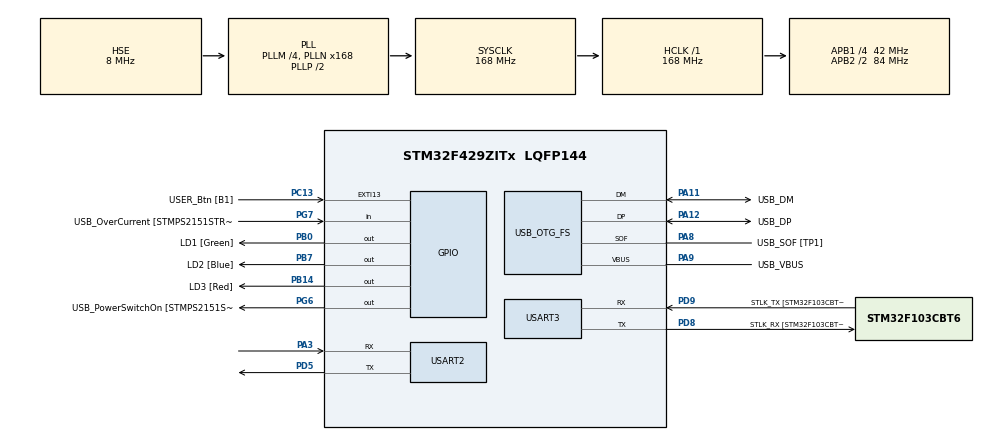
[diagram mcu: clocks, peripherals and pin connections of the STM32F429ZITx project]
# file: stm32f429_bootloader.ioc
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Mcu.Family=STM32F4
RCC.CortexFreq_Value=168000000
PG6.Signal=GPIO_Output
PB14.GPIO_Label=LD3 [Red]
PG6.GPIO_Label=USB_PowerSwitchOn [STMPS2151STR_EN]
PA14.GPIO_Label=TCK
RCC.SYSCLKSourceVirtual=RCC_SYSCLKSOURCE_PLLCLK
PA11.Mode=Device_Only
PB0.GPIO_Label=LD1 [Green]
PC14/OSC32_IN.Mode=LSE-External-Oscillator
PC13.GPIO_Label=USER_Btn [B1]
PB13.GPIO_Label=RMII_TXD1 [LAN8742A-CZ-TR_TXD1]
PB13.Signal=ETH_TXD1
PG13.Signal=ETH_TXD0
PD9.Mode=Asynchronous
PG11.Signal=ETH_TX_EN
RCC.SYSCLKSource=RCC_SYSCLKSOURCE_PLLCLK
ProjectManager.StackSize=0x400
PA12.Signal=USB_OTG_FS_DP
PH0/OSC_IN.Mode=HSE-External-Clock-Source
RCC.HCLKFreq_Value=168000000
RCC.APB2TimFreq_Value=168000000
PH1/OSC_OUT.Signal=RCC_OSC_OUT
PD8.Signal=USART3_TX
RCC.AHBFreq_Value=168000000
PD5.Mode=Asynchronous
RCC.HSE_VALUE=8000000
RCC.PLLMUL=RCC_PLL_MUL9
PC4.GPIO_Label=RMII_RXD0 [LAN8742A-CZ-TR_RXD0]
PA14.Mode=Serial_Wire
PA10.GPIO_Label=USB_ID
PB7.Signal=GPIO_Output
PA8.Signal=USB_OTG_FS_SOF
PH1/OSC_OUT.Mode=HSE-External-Clock-Source
PB7.GPIO_Label=LD2 [Blue]
Mcu.Package=LQFP144
USART2.VirtualMode=VM_ASYNC
PC14/OSC32_IN.Signal=RCC_OSC32_IN
PA2.GPIO_Label=RMII_MDIO [LAN8742A-CZ-TR_MDIO]
PA10.Signal=USB_OTG_FS_ID
USB_OTG_FS.VirtualMode=Device_Only
RCC.APB2CLKDivider=RCC_HCLK_DIV2
RCC.APB1TimFreq_Value=84000000
PG11.GPIO_Label=RMII_TX_EN [LAN8742A-CZ-TR_TXEN]
PC5.Signal=ETH_RXD1
PA3.Signal=USART2_RX
PG7.Signal=GPIO_Input
PD9.GPIO_Label=STLK_TX [STM32F103CBT6_PA2]
PC13.Signal=GPXTI13
PA9.GPIO_Label=USB_VBUS
PC4.Signal=ETH_RXD0
PA11.GPIO_Label=USB_DM
PD9.Signal=USART3_RX
PD5.Signal=USART2_TX
RCC.APB1CLKDivider=RCC_HCLK_DIV4
PG13.GPIO_Label=RMII_TXD0 [LAN8742A-CZ-TR_TXD0]
NVIC.USART2_IRQn=true\:0\:0\:false\:false\:true\:true\:true
PA12.GPIO_Label=USB_DP
PD8.GPIO_Label=STLK_RX [STM32F103CBT6_PA3]
PA3.Mode=Asynchronous
PA13.Signal=SYS_JTMS-SWDIO
PA9.Mode=Activate_VBUS
PA8.GPIO_Label=USB_SOF [TP1]
ProjectManager.TargetToolchain=STM32CubeIDE
PA9.Signal=USB_OTG_FS_VBUS
RCC.USBFreq_Value=48000000
PD8.Mode=Asynchronous
PA1.Signal=ETH_REF_CLK
PB14.Signal=GPIO_Output
board=NUCLEO-F429ZI
RCC.VCOOutputFreq_Value=336000000
PH0/OSC_IN.Signal=RCC_OSC_IN
RCC.APB2Freq_Value=84000000
RCC.PRESCALERUSB=RCC_USBCLKSOURCE_PLL_DIV1_5
PG7.GPIO_Label=USB_OverCurrent [STMPS2151STR_FAULT]
PA1.GPIO_Label=RMII_REF_CLK [LAN8742A-CZ-TR_REFCLK0]
PC1.GPIO_Label=RMII_MDC [LAN8742A-CZ-TR_MDC]
PA13.Mode=Serial_Wire
Mcu.Name=STM32F429ZITx
PA2.Signal=ETH_MDIO
PA13.GPIO_Label=TMS
RCC.APB2TimCLKDivider=2
RCC.48MHZClocksFreq_Value=48000000
RCC.SYSCLKFreq_VALUE=168000000
PA7.GPIO_Label=RMII_CRS_DV [LAN8742A-CZ-TR_CRS_DV]
PA12.Mode=Device_Only
PC5.GPIO_Label=RMII_RXD1 [LAN8742A-CZ-TR_RXD1]
USART3.VirtualMode=VM_ASYNC
PC15/OSC32_OUT.Mode=LSE-External-Oscillator
PA11.Signal=USB_OTG_FS_DM
PA14.Signal=SYS_JTCK-SWCLK
ProjectManager.HeapSize=0x200
RCC.HSI_VALUE=16000000
PH0/OSC_IN.GPIO_Label=MCO [STM32F103CBT6_PA8]
RCC.PLLQ=7
NVIC.PriorityGroup=NVIC_PRIORITYGROUP_4
RCC.PLLM=4
RCC.PLLN=168
PC15/OSC32_OUT.Signal=RCC_OSC32_OUT
PA8.Mode=Activate_SOF_FS
RCC.APB1Freq_Value=42000000
PB0.Signal=GPIO_Output
PC1.Signal=ETH_MDC
PA7.Signal=ETH_CRS_DV

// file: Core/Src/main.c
/* USER CODE BEGIN Header */
/**
  ******************************************************************************
  * @file           : main.c
  * @brief          : Main program body
  ******************************************************************************
  * @attention
  *
  * <h2><center>&copy; Copyright (c) 2021 STMicroelectronics.
  * All rights reserved.</center></h2>
  *
  * This software component is licensed by ST under BSD 3-Clause license,
  * the "License"; You may not use this file except in compliance with the
  * License. You may obtain a copy of the License at:
  *                        opensource.org/licenses/BSD-3-Clause
  *
  ******************************************************************************
  */
/* USER CODE END Header */
#include "main.h"

/* USER CODE BEGIN Includes */
#include "stm32f4xx_hal_flash_ex.h"
/* USER CODE END Includes */

/* USER CODE BEGIN PTD */
FLASH_EraseInitTypeDef 				EraseInitStruct;
/* USER CODE END PTD */

UART_HandleTypeDef huart2;
UART_HandleTypeDef huart3;

PCD_HandleTypeDef hpcd_USB_OTG_FS;

void SystemClock_Config(void);
static void MX_GPIO_Init(void);
static void MX_USART3_UART_Init(void);
static void MX_USB_OTG_FS_PCD_Init(void);
static void MX_USART2_UART_Init(void);

/* USER CODE BEGIN 0 */
uint32_t  SECTORError = 0;
/* USER CODE END 0 */

int main(void)
{
  /* USER CODE BEGIN 1 */
uint32_t userCodeOffset=0;
  /* USER CODE END 1 */

  /* MCU Configuration--------------------------------------------------------*/

  /* Reset of all peripherals, Initializes the Flash interface and the Systick. */
  HAL_Init();

  /* Configure the system clock */
  SystemClock_Config();

  /* Initialize all configured peripherals */
  MX_GPIO_Init();
  MX_USART3_UART_Init();
  MX_USB_OTG_FS_PCD_Init();
  MX_USART2_UART_Init();
  /* USER CODE BEGIN 2 */

  // TODO : disable all interupt
  if((*(__IO uint32_t*) ADDR_BL_CONTROL) ==  0x00001111){

	  //jump to user code 1

  }else if((*(__IO uint32_t*) ADDR_BL_CONTROL) ==  0x00002211){

	  //jump to user code 2

  }

  if((*(__IO uint32_t*) ADDR_BL_CONTROL) ==  0x00001100){
	  HAL_FLASH_Unlock();
	  __HAL_FLASH_CLEAR_FLAG(FLASH_FLAG_EOP |FLASH_FLAG_PGAERR | FLASH_FLAG_PGPERR | FLASH_FLAG_PGSERR | FLASH_FLAG_WRPERR);
	  if(HAL_FLASH_Program(FLASH_TYPEPROGRAM_WORD, 0x08008000, 0x00001111)!=HAL_OK){
			if(HAL_FLASH_Program(FLASH_TYPEPROGRAM_WORD, 0x08008000, 0x00001111)!=HAL_OK){
			// TODO : Error
			}
		}
	  HAL_FLASH_Lock();
	  userCodeOffset = ADDR_AREA_2;

    }else{
    	if((*(__IO uint32_t*) ADDR_BL_CONTROL) ==  0x00002200){
    		HAL_FLASH_Unlock();
			__HAL_FLASH_CLEAR_FLAG(FLASH_FLAG_EOP |FLASH_FLAG_PGAERR | FLASH_FLAG_PGPERR | FLASH_FLAG_PGSERR | FLASH_FLAG_WRPERR);
			if(HAL_FLASH_Program(FLASH_TYPEPROGRAM_WORD, 0x08008000, 0x00002211)!=HAL_OK){
				if(HAL_FLASH_Program(FLASH_TYPEPROGRAM_WORD, 0x08008000, 0x00002211)!=HAL_OK){
				// TODO : Error
				}
			}
			HAL_FLASH_Lock();
    	}
    	userCodeOffset = ADDR_AREA_1;
    }

  /* USER CODE END 2 */

  /* Infinite loop */
  while (1)
  {

  }
}

void SystemClock_Config(void)
{
  RCC_OscInitTypeDef RCC_OscInitStruct = {0};
  RCC_ClkInitTypeDef RCC_ClkInitStruct = {0};

  /** Configure the main internal regulator output voltage
  */
  __HAL_RCC_PWR_CLK_ENABLE();
  __HAL_PWR_VOLTAGESCALING_CONFIG(PWR_REGULATOR_VOLTAGE_SCALE1);
  /** Initializes the RCC Oscillators according to the specified parameters
  * in the RCC_OscInitTypeDef structure.
  */
  RCC_OscInitStruct.OscillatorType = RCC_OSCILLATORTYPE_HSE;
  RCC_OscInitStruct.HSEState = RCC_HSE_BYPASS;
  RCC_OscInitStruct.PLL.PLLState = RCC_PLL_ON;
  RCC_OscInitStruct.PLL.PLLSource = RCC_PLLSOURCE_HSE;
  RCC_OscInitStruct.PLL.PLLM = 4;
  RCC_OscInitStruct.PLL.PLLN = 168;
  RCC_OscInitStruct.PLL.PLLP = RCC_PLLP_DIV2;
  RCC_OscInitStruct.PLL.PLLQ = 7;
  if (HAL_RCC_OscConfig(&RCC_OscInitStruct) != HAL_OK)
  {
    Error_Handler();
  }
  /** Initializes the CPU, AHB and APB buses clocks
  */
  RCC_ClkInitStruct.ClockType = RCC_CLOCKTYPE_HCLK|RCC_CLOCKTYPE_SYSCLK
                              |RCC_CLOCKTYPE_PCLK1|RCC_CLOCKTYPE_PCLK2;
  RCC_ClkInitStruct.SYSCLKSource = RCC_SYSCLKSOURCE_PLLCLK;
  RCC_ClkInitStruct.AHBCLKDivider = RCC_SYSCLK_DIV1;
  RCC_ClkInitStruct.APB1CLKDivider = RCC_HCLK_DIV4;
  RCC_ClkInitStruct.APB2CLKDivider = RCC_HCLK_DIV2;

  if (HAL_RCC_ClockConfig(&RCC_ClkInitStruct, FLASH_LATENCY_5) != HAL_OK)
  {
    Error_Handler();
  }
}

static void MX_USART2_UART_Init(void)
{

  huart2.Instance = USART2;
  huart2.Init.BaudRate = 115200;
  huart2.Init.WordLength = UART_WORDLENGTH_8B;
  huart2.Init.StopBits = UART_STOPBITS_1;
  huart2.Init.Parity = UART_PARITY_NONE;
  huart2.Init.Mode = UART_MODE_TX_RX;
  huart2.Init.HwFlowCtl = UART_HWCONTROL_NONE;
  huart2.Init.OverSampling = UART_OVERSAMPLING_16;
  if (HAL_UART_Init(&huart2) != HAL_OK)
  {
    Error_Handler();
  }

}

static void MX_USART3_UART_Init(void)
{

  huart3.Instance = USART3;
  huart3.Init.BaudRate = 115200;
  huart3.Init.WordLength = UART_WORDLENGTH_8B;
  huart3.Init.StopBits = UART_STOPBITS_1;
  huart3.Init.Parity = UART_PARITY_NONE;
  huart3.Init.Mode = UART_MODE_TX_RX;
  huart3.Init.HwFlowCtl = UART_HWCONTROL_NONE;
  huart3.Init.OverSampling = UART_OVERSAMPLING_16;
  if (HAL_UART_Init(&huart3) != HAL_OK)
  {
    Error_Handler();
  }

}

static void MX_USB_OTG_FS_PCD_Init(void)
{

  hpcd_USB_OTG_FS.Instance = USB_OTG_FS;
  hpcd_USB_OTG_FS.Init.dev_endpoints = 4;
  hpcd_USB_OTG_FS.Init.speed = PCD_SPEED_FULL;
  hpcd_USB_OTG_FS.Init.dma_enable = DISABLE;
  hpcd_USB_OTG_FS.Init.phy_itface = PCD_PHY_EMBEDDED;
  hpcd_USB_OTG_FS.Init.Sof_enable = ENABLE;
  hpcd_USB_OTG_FS.Init.low_power_enable = DISABLE;
  hpcd_USB_OTG_FS.Init.lpm_enable = DISABLE;
  hpcd_USB_OTG_FS.Init.vbus_sensing_enable = ENABLE;
  hpcd_USB_OTG_FS.Init.use_dedicated_ep1 = DISABLE;
  if (HAL_PCD_Init(&hpcd_USB_OTG_FS) != HAL_OK)
  {
    Error_Handler();
  }

}

static void MX_GPIO_Init(void)
{
  GPIO_InitTypeDef GPIO_InitStruct = {0};

  /* GPIO Ports Clock Enable */
  __HAL_RCC_GPIOC_CLK_ENABLE();
  __HAL_RCC_GPIOH_CLK_ENABLE();
  __HAL_RCC_GPIOA_CLK_ENABLE();
  __HAL_RCC_GPIOB_CLK_ENABLE();
  __HAL_RCC_GPIOD_CLK_ENABLE();
  __HAL_RCC_GPIOG_CLK_ENABLE();

  /*Configure GPIO pin Output Level */
  HAL_GPIO_WritePin(GPIOB, LD1_Pin|LD3_Pin|LD2_Pin, GPIO_PIN_RESET);

  /*Configure GPIO pin Output Level */
  HAL_GPIO_WritePin(USB_PowerSwitchOn_GPIO_Port, USB_PowerSwitchOn_Pin, GPIO_PIN_RESET);

  /*Configure GPIO pin : USER_Btn_Pin */
  GPIO_InitStruct.Pin = USER_Btn_Pin;
  GPIO_InitStruct.Mode = GPIO_MODE_IT_RISING;
  GPIO_InitStruct.Pull = GPIO_NOPULL;
  HAL_GPIO_Init(USER_Btn_GPIO_Port, &GPIO_InitStruct);

  /*Configure GPIO pins : RMII_MDC_Pin RMII_RXD0_Pin RMII_RXD1_Pin */
  GPIO_InitStruct.Pin = RMII_MDC_Pin|RMII_RXD0_Pin|RMII_RXD1_Pin;
  GPIO_InitStruct.Mode = GPIO_MODE_AF_PP;
  GPIO_InitStruct.Pull = GPIO_NOPULL;
  GPIO_InitStruct.Speed = GPIO_SPEED_FREQ_VERY_HIGH;
  GPIO_InitStruct.Alternate = GPIO_AF11_ETH;
  HAL_GPIO_Init(GPIOC, &GPIO_InitStruct);

  /*Configure GPIO pins : RMII_REF_CLK_Pin RMII_MDIO_Pin RMII_CRS_DV_Pin */
  GPIO_InitStruct.Pin = RMII_REF_CLK_Pin|RMII_MDIO_Pin|RMII_CRS_DV_Pin;
  GPIO_InitStruct.Mode = GPIO_MODE_AF_PP;
  GPIO_InitStruct.Pull = GPIO_NOPULL;
  GPIO_InitStruct.Speed = GPIO_SPEED_FREQ_VERY_HIGH;
  GPIO_InitStruct.Alternate = GPIO_AF11_ETH;
  HAL_GPIO_Init(GPIOA, &GPIO_InitStruct);

  /*Configure GPIO pins : LD1_Pin LD3_Pin LD2_Pin */
  GPIO_InitStruct.Pin = LD1_Pin|LD3_Pin|LD2_Pin;
  GPIO_InitStruct.Mode = GPIO_MODE_OUTPUT_PP;
  GPIO_InitStruct.Pull = GPIO_NOPULL;
  GPIO_InitStruct.Speed = GPIO_SPEED_FREQ_LOW;
  HAL_GPIO_Init(GPIOB, &GPIO_InitStruct);

  /*Configure GPIO pin : RMII_TXD1_Pin */
  GPIO_InitStruct.Pin = RMII_TXD1_Pin;
  GPIO_InitStruct.Mode = GPIO_MODE_AF_PP;
  GPIO_InitStruct.Pull = GPIO_NOPULL;
  GPIO_InitStruct.Speed = GPIO_SPEED_FREQ_VERY_HIGH;
  GPIO_InitStruct.Alternate = GPIO_AF11_ETH;
  HAL_GPIO_Init(RMII_TXD1_GPIO_Port, &GPIO_InitStruct);

  /*Configure GPIO pin : USB_PowerSwitchOn_Pin */
  GPIO_InitStruct.Pin = USB_PowerSwitchOn_Pin;
  GPIO_InitStruct.Mode = GPIO_MODE_OUTPUT_PP;
  GPIO_InitStruct.Pull = GPIO_NOPULL;
  GPIO_InitStruct.Speed = GPIO_SPEED_FREQ_LOW;
  HAL_GPIO_Init(USB_PowerSwitchOn_GPIO_Port, &GPIO_InitStruct);

  /*Configure GPIO pin : USB_OverCurrent_Pin */
  GPIO_InitStruct.Pin = USB_OverCurrent_Pin;
  GPIO_InitStruct.Mode = GPIO_MODE_INPUT;
  GPIO_InitStruct.Pull = GPIO_NOPULL;
  HAL_GPIO_Init(USB_OverCurrent_GPIO_Port, &GPIO_InitStruct);

  /*Configure GPIO pins : RMII_TX_EN_Pin RMII_TXD0_Pin */
  GPIO_InitStruct.Pin = RMII_TX_EN_Pin|RMII_TXD0_Pin;
  GPIO_InitStruct.Mode = GPIO_MODE_AF_PP;
  GPIO_InitStruct.Pull = GPIO_NOPULL;
  GPIO_InitStruct.Speed = GPIO_SPEED_FREQ_VERY_HIGH;
  GPIO_InitStruct.Alternate = GPIO_AF11_ETH;
  HAL_GPIO_Init(GPIOG, &GPIO_InitStruct);

}

void Error_Handler(void)
{
  __disable_irq();
  while (1)
  {
  }
}

/************************ (C) COPYRIGHT STMicroelectronics *****END OF FILE****/
